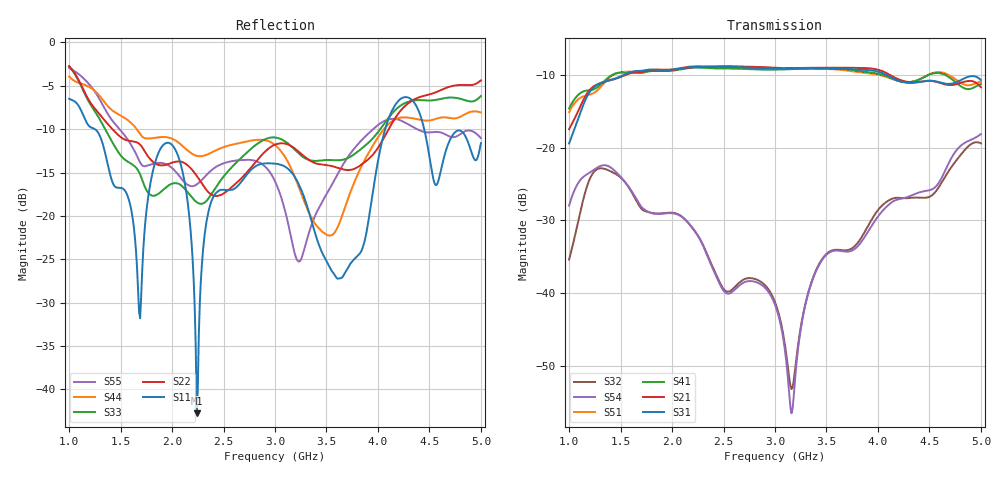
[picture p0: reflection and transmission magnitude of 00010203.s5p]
! AWR Design Environment (19377) Sat Dec 27 02:21:50 2025
! Document = 'EM_Extract_4_way'
! nPorts: 5, nXvals: 401
! Created with skrf 1.8.0 (http://scikit-rf.org).
# GHz S RI R 50.0
!freq ReS11 ImS11 ReS12 ImS12 ReS13 ImS13
! ReS14 ImS14 ReS15 ImS15
! ReS21 ImS21 ReS22 ImS22 ReS23 ImS23
! ReS24 ImS24 ReS25 ImS25
! ReS31 ImS31 ReS32 ImS32 ReS33 ImS33
! ReS34 ImS34 ReS35 ImS35
! ReS41 ImS41 ReS42 ImS42 ReS43 ImS43
! ReS44 ImS44 ReS45 ImS45
! ReS51 ImS51 ReS52 ImS52 ReS53 ImS53
! ReS54 ImS54 ReS55 ImS55
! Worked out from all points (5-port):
!   401 points, 1 GHz to 5 GHz, reference 50 ohm
!   strongest paths, dB at 1 GHz, 2 GHz, 3 GHz, 4 GHz, 5 GHz:
!     S31: -19.4, -9.3, -9.1, -9.5, -10.7
!     S21: -17.5, -9.3, -9.0, -9.3, -11.7
!     S41: -14.6, -9.4, -9.3, -9.8, -11.2
!     S51: -15.1, -9.2, -9.1, -10.0, -10.9
!     S54: -28.0, -29.0, -41.6, -29.5, -18.1
!     S32: -35.4, -29.0, -41.2, -28.6, -19.4
!   lowest |S11| = -42.7 dB at 2.24 GHz (marker M1), VSWR 1.01, Z = 50.3 - j0.68 ohm
!   |S11| at or under -10 dB: 1.25 GHz to 4.07 GHz (2.82 GHz wide, 106 % of centre); 4.45 GHz to end of sweep
